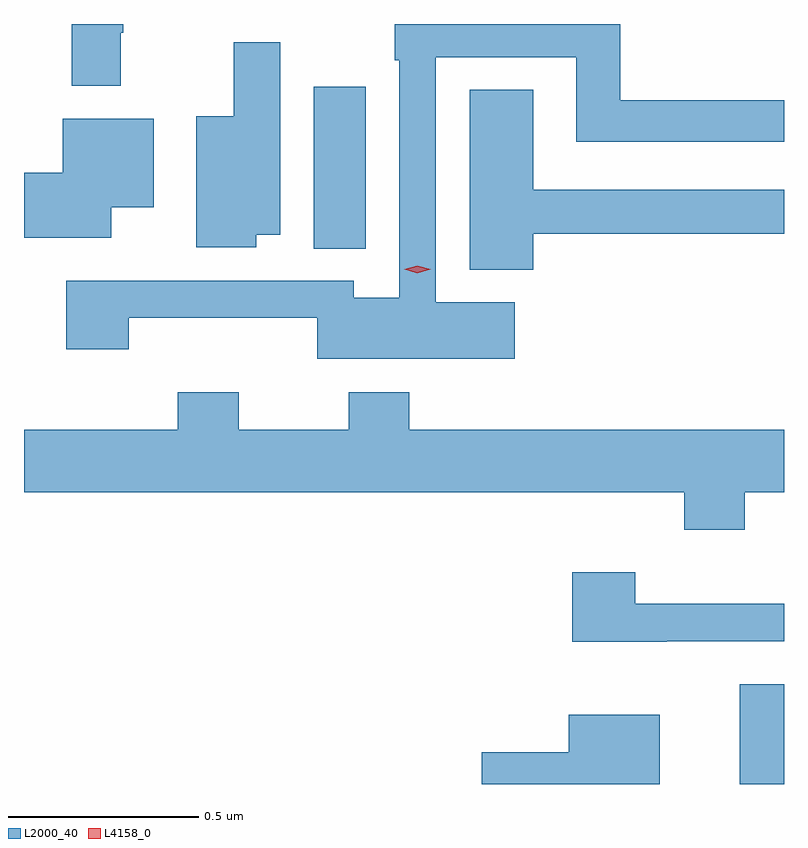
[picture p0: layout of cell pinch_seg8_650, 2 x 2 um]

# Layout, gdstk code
import gdstk
lib = gdstk.Library(unit=1e-6, precision=1e-09)
def R(c, l, rs):  # rectangles x0, y0, x1, y1
    for r in rs: c.add(gdstk.rectangle(r[:2], r[2:], *l))
def P(c, l, *ps):  # polygons
    for p in ps: c.add(gdstk.Polygon(p, *l))
L2000_40 = (2000, 40)
L4158_0 = (4158, 0)

pinch_seg8_650 = lib.new_cell('pinch_seg8_650')
R(pinch_seg8_650, L2000_40, [(211.094,1101.08,211.21,1101.343), (209.972,1102.489,210.109,1102.915)])
P(pinch_seg8_650, L2000_40, [(210.502,1102.348),(210.294,1102.348),(210.294,1102.992),(210.663,1102.992),(210.663,1102.77),(211.21,1102.77),(211.21,1102.879),(210.779,1102.879),(210.779,1103.08),(210.186,1103.08),(210.186,1102.985),(210.198,1102.985),(210.198,1102.36),(210.078,1102.36),(210.078,1102.404),(209.321,1102.404),(209.321,1102.224),(209.486,1102.224),(209.486,1102.307),(209.982,1102.307),(209.982,1102.199),(210.502,1102.199)],
  [(209.464,1103.057),(209.471,1103.057),(209.471,1103.08),(209.335,1103.08),(209.335,1102.917),(209.464,1102.917)],
  [(209.821,1102.526),(209.884,1102.526),(209.884,1103.032),(209.762,1103.032),(209.762,1102.837),(209.663,1102.837),(209.663,1102.493),(209.821,1102.493)],
  [(210.55,1102.528),(211.21,1102.528),(211.21,1102.644),(210.55,1102.644),(210.55,1102.907),(210.383,1102.907),(210.383,1102.433),(210.55,1102.433)],
  [(209.44,1102.598),(209.551,1102.598),(209.551,1102.831),(209.312,1102.831),(209.312,1102.688),(209.21,1102.688),(209.21,1102.517),(209.44,1102.517)],
  [(209.615,1102.111),(209.615,1102.012),(209.21,1102.012),(209.21,1101.848),(210.947,1101.848),(210.947,1101.749),(211.107,1101.749),(211.107,1101.848),(211.21,1101.848),(211.21,1102.012),(210.224,1102.012),(210.224,1102.111),(210.064,1102.111),(210.064,1102.012),(209.775,1102.012),(209.775,1102.111)],
  [(210.901,1101.456),(211.21,1101.456),(211.21,1101.554),(210.818,1101.554),(210.818,1101.637),(210.653,1101.637),(210.653,1101.455),(210.901,1101.455)],
  [(210.883,1101.262),(210.644,1101.262),(210.644,1101.164),(210.414,1101.164),(210.414,1101.08),(210.883,1101.08)])
P(pinch_seg8_650, L4158_0, [(210.245,1102.424),(210.211,1102.434),(210.21,1102.434),(210.211,1102.434),(210.245,1102.444),(210.28,1102.434),(210.28,1102.434),(210.28,1102.434)])

lib.write_gds('pinch_seg8_650.gds')
